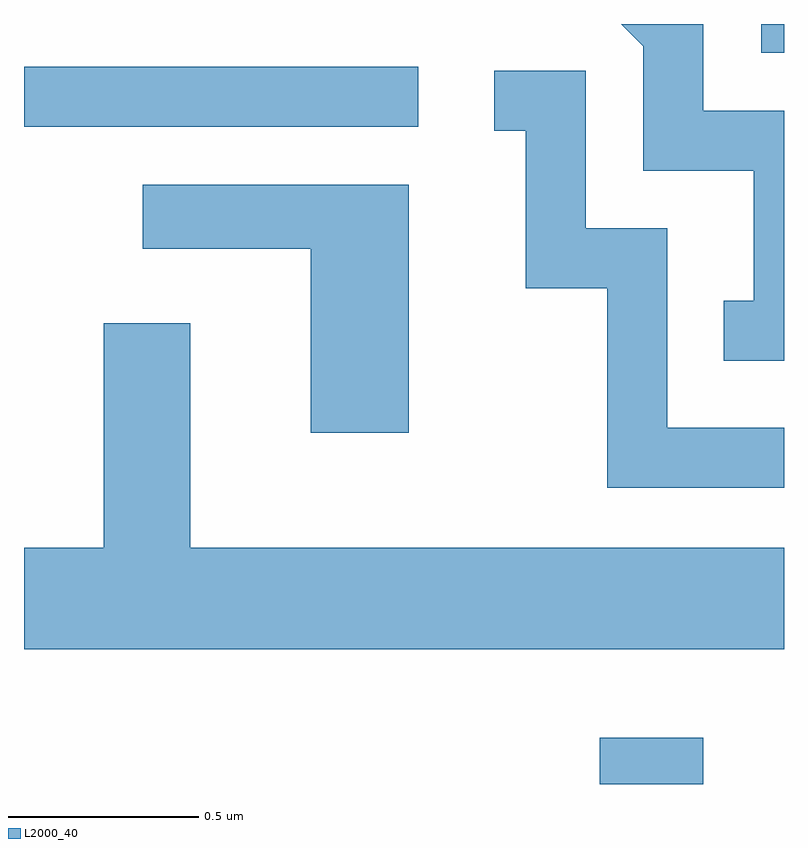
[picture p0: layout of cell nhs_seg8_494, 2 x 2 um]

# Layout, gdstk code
import gdstk
lib = gdstk.Library(unit=1e-6, precision=1e-09)
def R(c, l, rs):  # rectangles x0, y0, x1, y1
    for r in rs: c.add(gdstk.rectangle(r[:2], r[2:], *l))
def P(c, l, *ps):  # polygons
    for p in ps: c.add(gdstk.Polygon(p, *l))
L2000_40 = (2000, 40)

nhs_seg8_494 = lib.new_cell('nhs_seg8_494')
R(nhs_seg8_494, L2000_40, [(190.126,1889.342,190.398,1889.464), (188.611,1891.071,189.648,1891.229), (190.551,1891.266,190.611,1891.342)])
P(nhs_seg8_494, L2000_40, [(190.611,1891.114),(190.399,1891.114),(190.399,1891.342),(190.183,1891.342),(190.241,1891.284),(190.241,1890.956),(190.531,1890.956),(190.531,1890.614),(190.453,1890.614),(190.453,1890.456),(190.611,1890.456)],
  [(190.611,1890.279),(190.304,1890.279),(190.304,1890.804),(190.089,1890.804),(190.089,1891.219),(189.848,1891.219),(189.848,1891.061),(189.931,1891.061),(189.931,1890.646),(190.146,1890.646),(190.146,1890.121),(190.611,1890.121)],
  [(189.624,1890.919),(188.923,1890.919),(188.923,1890.751),(189.366,1890.751),(189.366,1890.266),(189.624,1890.266)],
  [(190.611,1889.964),(189.049,1889.964),(189.049,1890.554),(188.821,1890.554),(188.821,1889.964),(188.611,1889.964),(188.611,1889.696),(190.611,1889.696)])

lib.write_gds('nhs_seg8_494.gds')
